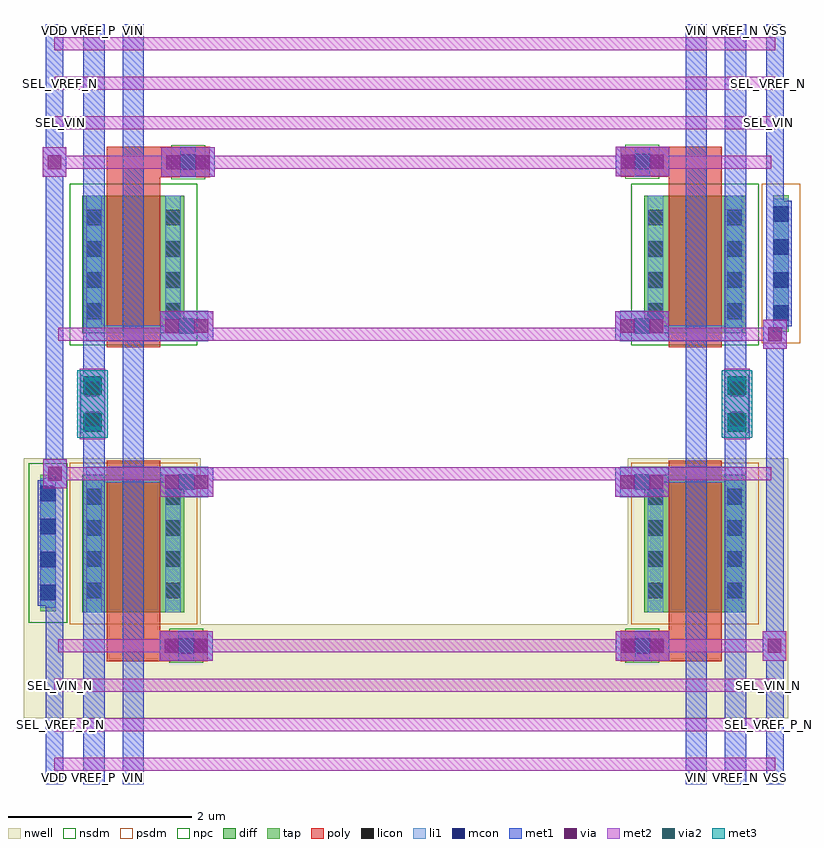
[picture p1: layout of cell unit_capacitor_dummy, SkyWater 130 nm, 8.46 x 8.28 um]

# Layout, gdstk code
import gdstk
lib = gdstk.Library(unit=1e-6, precision=1e-09)
def R(c, l, rs):  # rectangles x0, y0, x1, y1
    for r in rs: c.add(gdstk.rectangle(r[:2], r[2:], *l))
def A(c, l, x, y, w, h, nx, ny, dx, dy):  # array of equal rectangles
    R(c, l, [(x+i*dx, y+j*dy, x+i*dx+w, y+j*dy+h) for i in range(nx) for j in range(ny)])
nwell = (64, 20)
diff = (65, 20)
tap = (65, 44)
poly = (66, 20)
licon = (66, 44)
li1 = (67, 20)
mcon = (67, 44)
met1 = (68, 20)
via = (68, 44)
met2 = (69, 20)
via2 = (69, 44)
met3 = (70, 20)
nsdm = (93, 44)
psdm = (94, 20)
npc = (95, 20)

pfet_01v8__55 = lib.new_cell('pfet_01v8$$55')
R(pfet_01v8__55, nwell, [(-0.445,-0.18,1.025,1.68)])
R(pfet_01v8__55, diff, [(-0.265,0,0,1.5), (0,0,0.58,1.5), (0.58,0,0.845,1.5)])
R(pfet_01v8__55, poly, [(0,-0.15,0.58,-0.095), (0,-0.095,0.58,0), (0,0,0.58,1.5), (0,1.5,0.58,1.595), (0,1.595,0.58,1.65)])
A(pfet_01v8__55, licon, -0.225, 0.155, 0.17, 0.17, 1, 4, 0, 0.34)
A(pfet_01v8__55, licon, 0.635, 0.155, 0.17, 0.17, 1, 4, 0, 0.34)
R(pfet_01v8__55, li1, [(-0.225,0,-0.055,1.5), (0.635,0,0.805,1.5)])
R(pfet_01v8__55, psdm, [(-0.405,-0.13,0.985,1.63)])
pfet_01v8__55.add(gdstk.Label('D_drain_1', (0.712,0.75), layer=65, texttype=20))
pfet_01v8__55.add(gdstk.Label('S_source_0', (-0.132,0.75), layer=65, texttype=20))
pfet_01v8__55.add(gdstk.Label('G_gate_1', (0.29,-0.122), layer=66, texttype=20))
pfet_01v8__55.add(gdstk.Label('G_gate_1', (0.29,1.622), layer=66, texttype=20))
pfet_01v8__55.add(gdstk.Label('D_drain_1', (0.72,0.75), layer=67, texttype=20))
pfet_01v8__55.add(gdstk.Label('S_source_0', (-0.14,0.75), layer=67, texttype=20))
pfet_01v8__55.add(gdstk.Label('B', (0.29,0.75), layer=64, texttype=20))

nfet_01v8__56 = lib.new_cell('nfet_01v8$$56')
R(nfet_01v8__56, diff, [(-0.265,0,0,1.5), (0,0,0.58,1.5), (0.58,0,0.845,1.5)])
R(nfet_01v8__56, poly, [(0,-0.15,0.58,-0.095), (0,-0.095,0.58,0), (0,0,0.58,1.5), (0,1.5,0.58,1.595), (0,1.595,0.58,1.65)])
A(nfet_01v8__56, licon, -0.225, 0.155, 0.17, 0.17, 1, 4, 0, 0.34)
A(nfet_01v8__56, licon, 0.635, 0.155, 0.17, 0.17, 1, 4, 0, 0.34)
R(nfet_01v8__56, li1, [(-0.225,0,-0.055,1.5), (0.635,0,0.805,1.5)])
R(nfet_01v8__56, nsdm, [(-0.405,-0.13,0.985,1.63)])
nfet_01v8__56.add(gdstk.Label('D_drain_1', (0.712,0.75), layer=65, texttype=20))
nfet_01v8__56.add(gdstk.Label('S_source_0', (-0.132,0.75), layer=65, texttype=20))
nfet_01v8__56.add(gdstk.Label('G_gate_1', (0.29,-0.122), layer=66, texttype=20))
nfet_01v8__56.add(gdstk.Label('G_gate_1', (0.29,1.622), layer=66, texttype=20))
nfet_01v8__56.add(gdstk.Label('D_drain_1', (0.72,0.75), layer=67, texttype=20))
nfet_01v8__56.add(gdstk.Label('S_source_0', (-0.14,0.75), layer=67, texttype=20))

m1m2_c__52 = lib.new_cell('M1M2_C$$52')
R(m1m2_c__52, met1, [(-0.29,-0.16,0.29,0.16)])
R(m1m2_c__52, via, [(-0.235,-0.075,-0.085,0.075), (0.085,-0.075,0.235,0.075)])
R(m1m2_c__52, met2, [(-0.29,-0.16,0.29,0.16)])

polyconn__53 = lib.new_cell('polyConn$$53')
R(polyconn__53, poly, [(-0.235,-0.165,0.235,0.165)])
R(polyconn__53, licon, [(-0.085,-0.085,0.085,0.085)])
R(polyconn__53, li1, [(-0.085,-0.165,0.085,0.165)])
R(polyconn__53, mcon, [(-0.085,-0.085,0.085,0.085)])
R(polyconn__53, met1, [(-0.29,-0.16,0.29,0.16)])
R(polyconn__53, npc, [(-0.185,-0.185,0.185,0.185)])

l1m1_c__54 = lib.new_cell('L1M1_C$$54')
R(l1m1_c__54, li1, [(-0.235,-0.165,0.235,0.165)])
R(l1m1_c__54, mcon, [(-0.085,-0.085,0.085,0.085)])
R(l1m1_c__54, met1, [(-0.29,-0.16,0.29,0.16)])

nwelltap__44 = lib.new_cell('nwellTap$$44')
R(nwelltap__44, nwell, [(-0.265,-0.925,0.265,0.925)])
R(nwelltap__44, tap, [(-0.085,-0.745,0.085,0.745)])
A(nwelltap__44, licon, -0.085, -0.625, 0.17, 0.17, 1, 4, 0, 0.36)
R(nwelltap__44, li1, [(-0.085,-0.705,0.085,0.705)])
A(nwelltap__44, mcon, -0.085, -0.625, 0.17, 0.17, 1, 4, 0, 0.36)
R(nwelltap__44, met1, [(-0.115,-0.685,0.115,0.685)])
R(nwelltap__44, nsdm, [(-0.21,-0.87,0.21,0.87)])

subtap__45 = lib.new_cell('subTap$$45')
R(subtap__45, tap, [(-0.085,-0.745,0.085,0.745)])
A(subtap__45, licon, -0.085, -0.625, 0.17, 0.17, 1, 4, 0, 0.36)
R(subtap__45, li1, [(-0.085,-0.705,0.085,0.705)])
A(subtap__45, mcon, -0.085, -0.625, 0.17, 0.17, 1, 4, 0, 0.36)
R(subtap__45, met1, [(-0.115,-0.685,0.115,0.685)])
R(subtap__45, psdm, [(-0.21,-0.87,0.21,0.87)])

m1m2_c__15 = lib.new_cell('M1M2_C$$15')
R(m1m2_c__15, met1, [(-0.13,-0.16,0.13,0.16)])
R(m1m2_c__15, via, [(-0.075,-0.075,0.075,0.075)])
R(m1m2_c__15, met2, [(-0.13,-0.16,0.13,0.16)])

m2m3_c__24 = lib.new_cell('M2M3_C$$24')
R(m2m3_c__24, met2, [(-0.14,-0.385,0.14,0.385)])
R(m2m3_c__24, via2, [(-0.1,-0.3,0.1,-0.1), (-0.1,0.1,0.1,0.3)])
R(m2m3_c__24, met3, [(-0.165,-0.365,0.165,0.365)])

m1m2_c__42 = lib.new_cell('M1M2_C$$42')
R(m1m2_c__42, met1, [(-0.13,-0.32,0.13,0.32)])
R(m1m2_c__42, via, [(-0.075,-0.235,0.075,-0.085), (-0.075,0.085,0.075,0.235)])
R(m1m2_c__42, met2, [(-0.14,-0.385,0.14,0.385)])

unit_capacitor_dummy = lib.new_cell('unit_capacitor_dummy')
R(unit_capacitor_dummy, nwell, [(-0.12,0.715,8.21,1.74), (7.93,1.74,8.21,3.55)])
R(unit_capacitor_dummy, met1, [(0.12,0,0.31,0.14), (0.53,0,0.76,0.14), (0.96,0,1.19,0.14), (7.09,0,7.32,0.14), (7.52,0,7.75,0.14), (7.97,0,8.16,0.14), (0.12,8.14,0.31,8.28), (0.53,8.14,0.76,8.28), (0.96,8.14,1.19,8.28), (7.09,8.14,7.32,8.28), (7.52,8.14,7.75,8.28), (7.97,8.14,8.16,8.28)])
A(unit_capacitor_dummy, met2, 0.215, 0.145, 0.14, 0.14, 1, 3, 0, 0.43)
A(unit_capacitor_dummy, met2, 7.925, 0.145, 0.14, 0.14, 1, 3, 0, 0.43)
A(unit_capacitor_dummy, met2, 0.215, 7.135, 0.14, 0.14, 1, 3, 0, 0.43)
A(unit_capacitor_dummy, met2, 7.925, 7.135, 0.14, 0.14, 1, 3, 0, 0.43)
unit_capacitor_dummy.add(gdstk.FlexPath([(1.65,1.505),(1.415,1.505)], 0.33, ends=(0, 0.075), simple_path=True, layer=66, datatype=20))  # poly
unit_capacitor_dummy.add(gdstk.FlexPath([(1.075,1.72),(1.075,1.34)], 0.58, ends="flush", simple_path=True, layer=66, datatype=20))  # poly
unit_capacitor_dummy.add(gdstk.FlexPath([(7.195,6.56),(7.195,6.945)], 0.58, ends="flush", simple_path=True, layer=66, datatype=20))  # poly
unit_capacitor_dummy.add(gdstk.FlexPath([(6.855,6.78),(6.855,6.705)], 0.15, ends=(0.165, 0), simple_path=True, layer=66, datatype=20))  # poly
unit_capacitor_dummy.add(gdstk.FlexPath([(1.67,6.775),(1.435,6.775)], 0.33, ends=(0, 0.075), simple_path=True, layer=66, datatype=20))  # poly
unit_capacitor_dummy.add(gdstk.FlexPath([(6.62,6.78),(6.855,6.78)], 0.33, ends=(0, 0.075), simple_path=True, layer=66, datatype=20))  # poly
unit_capacitor_dummy.add(gdstk.FlexPath([(1.435,6.775),(1.435,6.845)], 0.15, ends=(0.165, 0), simple_path=True, layer=66, datatype=20))  # poly
unit_capacitor_dummy.add(gdstk.FlexPath([(7.195,1.72),(7.195,1.34)], 0.58, ends="flush", simple_path=True, layer=66, datatype=20))  # poly
unit_capacitor_dummy.add(gdstk.FlexPath([(6.855,1.505),(6.855,1.435)], 0.15, ends=(0.165, 0), simple_path=True, layer=66, datatype=20))  # poly
unit_capacitor_dummy.add(gdstk.FlexPath([(6.62,1.505),(6.855,1.505)], 0.33, ends=(0, 0.075), simple_path=True, layer=66, datatype=20))  # poly
unit_capacitor_dummy.add(gdstk.FlexPath([(1.415,1.505),(1.415,1.435)], 0.15, ends=(0.165, 0), simple_path=True, layer=66, datatype=20))  # poly
unit_capacitor_dummy.add(gdstk.FlexPath([(1.075,6.56),(1.075,6.94)], 0.58, ends="flush", simple_path=True, layer=66, datatype=20))  # poly
unit_capacitor_dummy.add(gdstk.FlexPath([(0.645,3.37),(1.59,3.37)], 0.17, ends=(0.085, 0), simple_path=True, layer=67, datatype=20))  # li1
unit_capacitor_dummy.add(gdstk.FlexPath([(0.645,4.91),(1.59,4.91)], 0.17, ends=(0.085, 0), simple_path=True, layer=67, datatype=20))  # li1
unit_capacitor_dummy.add(gdstk.FlexPath([(6.765,4.91),(7.71,4.91)], 0.17, ends=(0.085, 0), simple_path=True, layer=67, datatype=20))  # li1
unit_capacitor_dummy.add(gdstk.FlexPath([(6.765,3.37),(7.71,3.37)], 0.17, ends=(0.085, 0), simple_path=True, layer=67, datatype=20))  # li1
unit_capacitor_dummy.add(gdstk.FlexPath([(0.645,8.14),(0.645,0)], 0.23, ends="flush", simple_path=True, layer=68, datatype=20))  # met1
unit_capacitor_dummy.add(gdstk.FlexPath([(7.635,8.28),(7.635,0.07)], 0.23, ends="flush", simple_path=True, layer=68, datatype=20))  # met1
unit_capacitor_dummy.add(gdstk.FlexPath([(0.215,8.21),(0.215,0.07)], 0.19, ends="flush", simple_path=True, layer=68, datatype=20))  # met1
unit_capacitor_dummy.add(gdstk.FlexPath([(1.075,8.21),(1.075,0.07)], 0.23, ends="flush", simple_path=True, layer=68, datatype=20))  # met1
unit_capacitor_dummy.add(gdstk.FlexPath([(8.065,8.21),(8.065,0.07)], 0.19, ends="flush", simple_path=True, layer=68, datatype=20))  # met1
unit_capacitor_dummy.add(gdstk.FlexPath([(7.205,8.21),(7.205,0.07)], 0.23, ends="flush", simple_path=True, layer=68, datatype=20))  # met1
unit_capacitor_dummy.add(gdstk.FlexPath([(0.255,1.505),(8.025,1.505)], 0.14, ends="flush", simple_path=True, layer=69, datatype=20))  # met2
unit_capacitor_dummy.add(gdstk.FlexPath([(0.255,4.9),(8.025,4.9)], 0.14, ends="flush", simple_path=True, layer=69, datatype=20))  # met2
unit_capacitor_dummy.add(gdstk.FlexPath([(0.255,7.635),(8.025,7.635)], 0.14, ends="flush", simple_path=True, layer=69, datatype=20))  # met2
unit_capacitor_dummy.add(gdstk.FlexPath([(0.255,3.38),(8.025,3.38)], 0.14, ends="flush", simple_path=True, layer=69, datatype=20))  # met2
unit_capacitor_dummy.add(gdstk.FlexPath([(0.255,6.775),(8.025,6.775)], 0.14, ends="flush", simple_path=True, layer=69, datatype=20))  # met2
unit_capacitor_dummy.add(gdstk.FlexPath([(0.255,8.065),(8.025,8.065)], 0.14, ends="flush", simple_path=True, layer=69, datatype=20))  # met2
unit_capacitor_dummy.add(gdstk.FlexPath([(0.255,7.205),(8.025,7.205)], 0.14, ends="flush", simple_path=True, layer=69, datatype=20))  # met2
unit_capacitor_dummy.add(gdstk.FlexPath([(0.255,0.215),(8.025,0.215)], 0.14, ends="flush", simple_path=True, layer=69, datatype=20))  # met2
unit_capacitor_dummy.add(gdstk.FlexPath([(0.255,0.645),(8.025,0.645)], 0.14, ends="flush", simple_path=True, layer=69, datatype=20))  # met2
unit_capacitor_dummy.add(gdstk.FlexPath([(0.255,1.075),(8.025,1.075)], 0.14, ends="flush", simple_path=True, layer=69, datatype=20))  # met2
unit_capacitor_dummy.add(gdstk.Reference(pfet_01v8__55, (6.905,1.87)))
unit_capacitor_dummy.add(gdstk.Reference(pfet_01v8__55, (0.785,1.87)))
unit_capacitor_dummy.add(gdstk.Reference(nfet_01v8__56, (6.905,4.91)))
unit_capacitor_dummy.add(gdstk.Reference(nfet_01v8__56, (0.785,4.91)))
unit_capacitor_dummy.add(gdstk.Reference(m1m2_c__52, (6.615,3.29)))
unit_capacitor_dummy.add(gdstk.Reference(m1m2_c__52, (1.655,4.99)))
unit_capacitor_dummy.add(gdstk.Reference(m1m2_c__52, (6.615,4.99)))
unit_capacitor_dummy.add(gdstk.Reference(m1m2_c__52, (6.62,6.78)))
unit_capacitor_dummy.add(gdstk.Reference(m1m2_c__52, (6.62,1.505)))
unit_capacitor_dummy.add(gdstk.Reference(m1m2_c__52, (1.65,1.505)))
unit_capacitor_dummy.add(gdstk.Reference(m1m2_c__52, (1.655,3.29)))
unit_capacitor_dummy.add(gdstk.Reference(m1m2_c__52, (1.67,6.775)))
unit_capacitor_dummy.add(gdstk.Reference(polyconn__53, (6.62,6.78)))
unit_capacitor_dummy.add(gdstk.Reference(polyconn__53, (6.62,1.505)))
unit_capacitor_dummy.add(gdstk.Reference(polyconn__53, (1.65,1.505)))
unit_capacitor_dummy.add(gdstk.Reference(polyconn__53, (1.67,6.775)))
unit_capacitor_dummy.add(gdstk.Reference(l1m1_c__54, (6.615,3.29)))
unit_capacitor_dummy.add(gdstk.Reference(l1m1_c__54, (1.655,4.99)))
unit_capacitor_dummy.add(gdstk.Reference(l1m1_c__54, (6.615,4.99)))
unit_capacitor_dummy.add(gdstk.Reference(l1m1_c__54, (1.655,3.29)))
unit_capacitor_dummy.add(gdstk.Reference(nwelltap__44, (0.145,2.625)))
unit_capacitor_dummy.add(gdstk.Reference(subtap__45, (8.13,5.67)))
unit_capacitor_dummy.add(gdstk.Reference(m1m2_c__15, (0.22,3.38)))
unit_capacitor_dummy.add(gdstk.Reference(m1m2_c__15, (8.065,4.9)))
unit_capacitor_dummy.add(gdstk.Reference(m1m2_c__15, (8.06,1.505)))
unit_capacitor_dummy.add(gdstk.Reference(m1m2_c__15, (0.215,6.775)))
unit_capacitor_dummy.add(gdstk.Reference(m2m3_c__24, (7.65,4.14)))
unit_capacitor_dummy.add(gdstk.Reference(m2m3_c__24, (0.63,4.14)))
unit_capacitor_dummy.add(gdstk.Reference(m1m2_c__42, (7.65,4.14)))
unit_capacitor_dummy.add(gdstk.Reference(m1m2_c__42, (0.63,4.14)))
unit_capacitor_dummy.add(gdstk.Label('VREF_P', (0.645,0.07), layer=68, texttype=20))
unit_capacitor_dummy.add(gdstk.Label('VIN', (1.075,0.07), layer=68, texttype=20))
unit_capacitor_dummy.add(gdstk.Label('VDD', (0.215,0.07), layer=68, texttype=20))
unit_capacitor_dummy.add(gdstk.Label('VSS', (8.065,0.07), layer=68, texttype=20))
unit_capacitor_dummy.add(gdstk.Label('VIN', (7.205,0.07), layer=68, texttype=20))
unit_capacitor_dummy.add(gdstk.Label('VREF_N', (7.635,0.07), layer=68, texttype=20))
unit_capacitor_dummy.add(gdstk.Label('VSS', (8.065,8.21), layer=68, texttype=20))
unit_capacitor_dummy.add(gdstk.Label('VIN', (7.205,8.21), layer=68, texttype=20))
unit_capacitor_dummy.add(gdstk.Label('VREF_N', (7.635,8.21), layer=68, texttype=20))
unit_capacitor_dummy.add(gdstk.Label('VREF_P', (0.645,8.21), layer=68, texttype=20))
unit_capacitor_dummy.add(gdstk.Label('VIN', (1.075,8.21), layer=68, texttype=20))
unit_capacitor_dummy.add(gdstk.Label('VDD', (0.215,8.21), layer=68, texttype=20))
unit_capacitor_dummy.add(gdstk.Label('SEL_VREF_N', (7.995,7.635), layer=69, texttype=20))
unit_capacitor_dummy.add(gdstk.Label('SEL_VIN', (7.995,7.205), layer=69, texttype=20))
unit_capacitor_dummy.add(gdstk.Label('SEL_VREF_P', (7.995,8.065), layer=69, texttype=20))
unit_capacitor_dummy.add(gdstk.Label('SEL_VREF_N_N', (7.995,0.215), layer=69, texttype=20))
unit_capacitor_dummy.add(gdstk.Label('SEL_VIN_N', (7.995,1.075), layer=69, texttype=20))
unit_capacitor_dummy.add(gdstk.Label('SEL_VREF_P_N', (7.995,0.645), layer=69, texttype=20))
unit_capacitor_dummy.add(gdstk.Label('SEL_VREF_N_N', (0.285,0.215), layer=69, texttype=20))
unit_capacitor_dummy.add(gdstk.Label('SEL_VIN_N', (0.285,1.075), layer=69, texttype=20))
unit_capacitor_dummy.add(gdstk.Label('SEL_VREF_P_N', (0.285,0.645), layer=69, texttype=20))
unit_capacitor_dummy.add(gdstk.Label('SEL_VREF_N', (0.285,7.635), layer=69, texttype=20))
unit_capacitor_dummy.add(gdstk.Label('SEL_VIN', (0.285,7.205), layer=69, texttype=20))
unit_capacitor_dummy.add(gdstk.Label('SEL_VREF_P', (0.285,8.065), layer=69, texttype=20))
unit_capacitor_dummy.add(gdstk.Label('SEL_VREF_N', (7.615,7.635), layer=69, texttype=5))
unit_capacitor_dummy.add(gdstk.Label('SEL_VIN', (7.785,7.205), layer=69, texttype=5))
unit_capacitor_dummy.add(gdstk.Label('SEL_VREF_P', (7.62,8.065), layer=69, texttype=5))
unit_capacitor_dummy.add(gdstk.Label('SEL_VREF_N_N', (7.51,0.215), layer=69, texttype=5))
unit_capacitor_dummy.add(gdstk.Label('SEL_VIN_N', (7.685,1.075), layer=69, texttype=5))
unit_capacitor_dummy.add(gdstk.Label('SEL_VREF_P_N', (7.52,0.645), layer=69, texttype=5))
unit_capacitor_dummy.add(gdstk.Label('SEL_VREF_N_N', (0.775,0.215), layer=69, texttype=5))
unit_capacitor_dummy.add(gdstk.Label('SEL_VIN_N', (0.605,1.075), layer=69, texttype=5))
unit_capacitor_dummy.add(gdstk.Label('SEL_VREF_P_N', (0.765,0.645), layer=69, texttype=5))
unit_capacitor_dummy.add(gdstk.Label('SEL_VREF_N', (0.665,7.635), layer=69, texttype=5))
unit_capacitor_dummy.add(gdstk.Label('SEL_VIN', (0.5,7.205), layer=69, texttype=5))
unit_capacitor_dummy.add(gdstk.Label('SEL_VREF_P', (0.665,8.065), layer=69, texttype=5))
unit_capacitor_dummy.add(gdstk.Label('VREF_P', (0.6,0.07), layer=68, texttype=5))
unit_capacitor_dummy.add(gdstk.Label('VIN', (1.03,0.07), layer=68, texttype=5))
unit_capacitor_dummy.add(gdstk.Label('VDD', (0.19,0.07), layer=68, texttype=5))
unit_capacitor_dummy.add(gdstk.Label('VSS', (8.04,0.07), layer=68, texttype=5))
unit_capacitor_dummy.add(gdstk.Label('VIN', (7.16,0.07), layer=68, texttype=5))
unit_capacitor_dummy.add(gdstk.Label('VREF_N', (7.59,0.07), layer=68, texttype=5))
unit_capacitor_dummy.add(gdstk.Label('VSS', (8.04,8.21), layer=68, texttype=5))
unit_capacitor_dummy.add(gdstk.Label('VIN', (7.16,8.21), layer=68, texttype=5))
unit_capacitor_dummy.add(gdstk.Label('VREF_N', (7.59,8.21), layer=68, texttype=5))
unit_capacitor_dummy.add(gdstk.Label('VREF_P', (0.6,8.21), layer=68, texttype=5))
unit_capacitor_dummy.add(gdstk.Label('VIN', (1.03,8.21), layer=68, texttype=5))
unit_capacitor_dummy.add(gdstk.Label('VDD', (0.19,8.21), layer=68, texttype=5))

lib.write_gds('unit_capacitor_dummy.gds')
